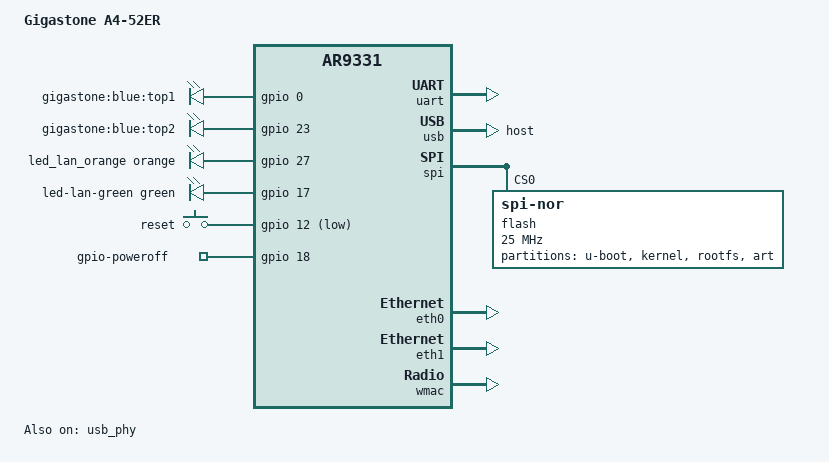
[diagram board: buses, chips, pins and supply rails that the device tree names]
// SPDX-License-Identifier: GPL-2.0-only
/*
 * Gigastone A4-52ER — "enshan" variant.
 *
 * Identical hardware/board definition to ar9331_gigastone_a4-52er.dts; the
 * ONLY difference is the flash partition layout. This variant is booted by the
 * 2014 pepe2k "enshan" U-Boot (cold-boot alive) whose do_bootm hard-wires the
 * TP-Link tag container (data = addr + 512, no magic/CRC check). We flash a
 * repacked 25.12 image [512B tag][raw-LZMA kernel][pad][squashfs] at 0x20000.
 *
 * Because the kernel is prefixed by a 512B TP-Link tag (NOT a legacy uImage),
 * mtdsplit_uimage on a "firmware" partition would fail to find the uImage magic
 * and never split out a rootfs -> kernel panics. So this variant declares
 * explicit `kernel` + `rootfs` fixed-partitions and drops the denx,uimage
 * mtdsplit entirely. The kernel finds its squashfs via the "rootfs" label
 * (MTD_ROOTFS_ROOT_DEV + mtdsplit_squashfs auto-creates rootfs_data overlay).
 *
 * TWO HARD CONSTRAINTS (verified against OpenWrt v25.12.5 source):
 *   1. rootfs MUST be the 3rd partition (mtd2): the enshan U-Boot bootargs pass
 *      root=31:02 (=mtdblock2) and, because root= is already set, the kernel's
 *      MTD_ROOTFS_ROOT_DEV auto-pick is skipped. Order u-boot(0)/kernel(1)/
 *      rootfs(2)/art(3) makes 31:02 land on rootfs.
 *   2. Do NOT add `linux,mtd-name` to flash@0. CONFIG_MTD_CMDLINE_PARTS is
 *      built into the ath79 kernel and is tried BEFORE ofpart; it matches the
 *      bootloader mtd-id "ar7240-nor0" against the mtd master name. With no
 *      linux,mtd-name the spi-nor name (dev_name) never matches, so enshan's
 *      cmdline `mtdparts=ar7240-nor0:...` is ignored and this DTS wins.
 */
/dts-v1/;

#include "ar9331.dtsi"

#include <dt-bindings/gpio/gpio.h>
#include <dt-bindings/input/input.h>
#include <dt-bindings/leds/common.h>

/ {
	model = "Gigastone A4-52ER";
	compatible = "gigastone,a4-52er", "qca,ar9331";

	aliases {
		serial0 = &uart;
		led-boot = &system;
		led-failsafe = &system;
		led-running = &system;
		led-upgrade = &system;
		label-mac-device = &eth0;
	};

	/*
	 * E2-quiet experiment (2026-07-11) CONCLUDED: console=null image still
	 * died in the cold-boot retry loop -> kernel console activity is NOT the
	 * power-latch trigger (death happens <1s into U-Boot, long before the
	 * kernel). Serial console restored for USB-TTL debugging.
	 */

	/*
	 * GPIO0/23 polarity boot-verified 2026-07-11 (blue2 blinks as led-boot,
	 * steady when running). GPIO17/27 are the RJ45 jack LEDs.
	 * 2026-07-23 live-verified on hardware: both jack LEDs are ACTIVE_HIGH
	 * (brightness=1 under the old active-low modelling turned them OFF) —
	 * the earlier "pepe2k LED_ACT_L" assumption was wrong. Modern
	 * color/function naming (sysfs green:lan / orange:lan) so the
	 * 04_led_migration prefix-strip (remove_devicename_leds) matches the
	 * 01_leds trigger config. Triggers bind to eth1 (physical jack; its
	 * carrier follows the cable — eth0 is the always-up CPU/switch link,
	 * and br-lan inherits that, which is why br-lan binding never went off).
	 */
	leds {
		compatible = "gpio-leds";

		blue1 {
			label = "gigastone:blue:top1";
			gpios = <&gpio 0 GPIO_ACTIVE_HIGH>;
		};

		system: blue2 {
			label = "gigastone:blue:top2";
			gpios = <&gpio 23 GPIO_ACTIVE_HIGH>;
		};

		led_lan_orange: led-lan-orange {
			color = <LED_COLOR_ID_ORANGE>;
			function = LED_FUNCTION_LAN;
			gpios = <&gpio 27 GPIO_ACTIVE_HIGH>;
		};

		led-lan-green {
			color = <LED_COLOR_ID_GREEN>;
			function = LED_FUNCTION_LAN;
			gpios = <&gpio 17 GPIO_ACTIVE_HIGH>;
		};
	};

	keys {
		compatible = "gpio-keys";

		button0 {
			label = "reset";
			linux,code = <KEY_RESTART>;
			gpios = <&gpio 12 GPIO_ACTIVE_LOW>;
			debounce-interval = <60>;
		};
	};

	/*
	 * GPIO18 = power-MCU line, polarity live-verified 2026-07-11 via sysfs:
	 * LOW = keep-alive (mandatory; the MCU cuts power ~1s after cold
	 * power-on otherwise), HIGH = immediate power-off. U-Boot asserts it LOW
	 * at init (pepe2k OUT_INIT_L patch); this node makes the kernel claim it
	 * output-low too and gives userspace a working `poweroff`.
	 */
	gpio-poweroff {
		compatible = "gpio-poweroff";
		gpios = <&gpio 18 GPIO_ACTIVE_HIGH>;
	};
};

&ref {
	clock-frequency = <25000000>;
};

&uart {
	status = "okay";
};

&gpio {
	status = "okay";
};

&usb {
	dr_mode = "host";
	status = "okay";
};

&usb_phy {
	status = "okay";
};

&spi {
	num-chipselects = <1>;
	status = "okay";

	/*
	 * Spansion S25FL032PIF-class SPI NOR, 8 MiB total.
	 * 2026-07-11: 104MHz (MadnessASAP guess, never boot-proven) is far above
	 * every shipping AR9331 board (AR150/carambola2 50MHz, USB150 33MHz) and
	 * is the prime suspect for the Linux-side flash probe failing (no mtd →
	 * eth0 nvmem MAC cell defers forever → no network). 25MHz = safest value.
	 */
	flash@0 {
		compatible = "jedec,spi-nor";
		spi-max-frequency = <25000000>;
		reg = <0>;

		/*
		 * enshan-variant layout: explicit kernel + rootfs (NO denx,uimage
		 * mtdsplit — the flashed blob is [512B TP-Link tag][kernel][squashfs]).
		 *   u-boot  0x000000 0x020000  (128K: code 123K + env @0x1ec00 + MAC @0x1fc00)
		 *   kernel  0x020000 0x1e0000  (1920K: tag+raw-LZMA-kernel+0xFF pad;
		 *                               enshan bootm reads via tag kernelLen)
		 *   rootfs  0x200000 0x5f0000  (squashfs; kernel auto-splits rootfs_data)
		 *   art     0x7f0000 0x010000  (64K, WiFi calibration + MAC, read-only)
		 * See the two HARD CONSTRAINTS at the top of this file (rootfs=mtd2,
		 * no linux,mtd-name). Do NOT reorder partitions or add linux,mtd-name.
		 */
		partitions {
			compatible = "fixed-partitions";
			#address-cells = <1>;
			#size-cells = <1>;

			/*
			 * 2026-07-12: read-only TEMPORARILY dropped so a running
			 * system can rewrite mtd0 (escape hatch while iterating on
			 * the pepe2k power-latch fix, in case the recovery button
			 * path ever breaks). Re-add once the cold-boot fix lands.
			 */
			uboot: partition@0 {
				label = "u-boot";
				reg = <0x000000 0x020000>;
			};

			partition@20000 {
				label = "kernel";
				reg = <0x020000 0x1e0000>;
			};

			partition@200000 {
				label = "rootfs";
				reg = <0x200000 0x5f0000>;
			};

			art: partition@7f0000 {
				label = "art";
				reg = <0x7f0000 0x010000>;
				read-only;

				nvmem-layout {
					compatible = "fixed-layout";
					#address-cells = <1>;
					#size-cells = <1>;

					/* factory label MAC really lives here on this board */
					macaddr_art_1002: macaddr@1002 {
						reg = <0x1002 0x6>;
					};

					cal_art_1000: calibration@1000 {
						reg = <0x1000 0x440>;
					};
				};
			};
		};
	};
};

/*
 * Ethernet blocks copied verbatim from ar9330_glinet_gl-ar150.dts (25.12.5),
 * which was live-verified to bring the A4-52ER wired port up (eth0, DHCP seen
 * on the wire, 2026-07-11). Only the nvmem MAC source differs (art@0x1002).
 * The previous MadnessASAP-era idiom (gmac-config under eth0 + eth1 syscon
 * override) never produced any link/traffic on this board.
 */
&eth0 {
	status = "okay";

	nvmem-cells = <&macaddr_art_1002>;
	nvmem-cell-names = "mac-address";
};

&eth1 {
	status = "okay";

	nvmem-cells = <&macaddr_art_1002>;
	nvmem-cell-names = "mac-address";

	gmac-config {
		device = <&gmac>;

		switch-phy-addr-swap = <0>;
		switch-phy-swap = <0>;
	};
};

&wmac {
	status = "okay";

	nvmem-cells = <&macaddr_art_1002>, <&cal_art_1000>;
	nvmem-cell-names = "mac-address", "calibration";
};
